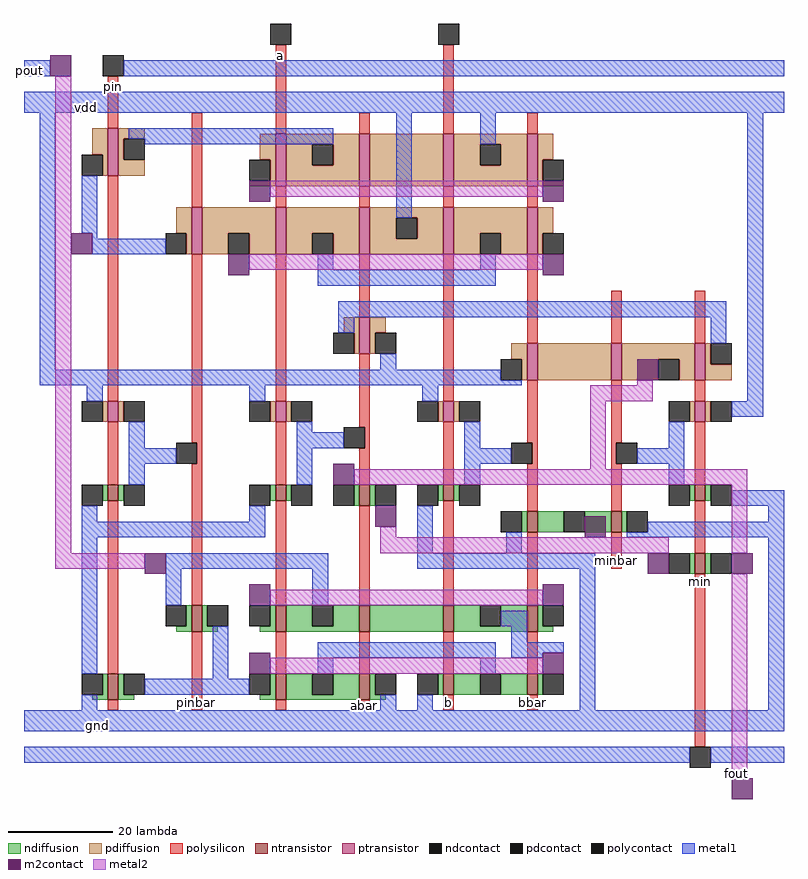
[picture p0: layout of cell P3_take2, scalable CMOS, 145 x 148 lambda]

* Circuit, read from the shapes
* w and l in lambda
.subckt P3_take2 a abar b bbar fout gnd min minbar pin pinbar pout vdd
M1 n1 pin gnd VSUBS nfet w=5 l=2
M2 pinbar pin gnd VSUBS nfet w=3 l=2
M3 n1 pinbar pout VSUBS nfet w=5 l=2
M4 n2 a n1 VSUBS nfet w=5 l=2
M5 pout a n3 VSUBS nfet w=5 l=2
M6 abar a gnd VSUBS nfet w=3 l=2
M7 gnd abar n2 VSUBS nfet w=5 l=2
M8 n4 abar pout VSUBS nfet w=5 l=2
M9 n5 abar fout VSUBS nfet w=4 l=2
M10 n2 b gnd VSUBS nfet w=4 l=2
M11 n1 b n4 VSUBS nfet w=5 l=2
M12 bbar b gnd VSUBS nfet w=3 l=2
M13 n1 bbar n2 VSUBS nfet w=4 l=2
M14 n3 bbar n1 VSUBS nfet w=5 l=2
M15 n5 bbar gnd VSUBS nfet w=4 l=2
M16 gnd minbar n5 VSUBS nfet w=4 l=2
M17 fout min n5 VSUBS nfet w=4 l=2
M18 gnd min minbar VSUBS nfet w=3 l=2
M19 pinbar pin vdd NWELL pfet w=4 l=2
M20 n6 pin pout NWELL pfet w=9 l=2
M21 n7 pinbar pout NWELL pfet w=9 l=2
M22 abar a vdd NWELL pfet w=4 l=2
M23 n8 a n7 NWELL pfet w=9 l=2
M24 n6 a n9 NWELL pfet w=10 l=2
M25 vdd abar n10 NWELL pfet w=7 l=2
M26 vdd abar n8 NWELL pfet w=9 l=2
M27 n11 abar n6 NWELL pfet w=10 l=2
M28 bbar b vdd NWELL pfet w=4 l=2
M29 n8 b vdd NWELL pfet w=9 l=2
M30 vdd b n11 NWELL pfet w=10 l=2
M31 n12 bbar vdd NWELL pfet w=7 l=2
M32 n7 bbar n8 NWELL pfet w=9 l=2
M33 n9 bbar vdd NWELL pfet w=10 l=2
M34 fout minbar n12 NWELL pfet w=7 l=2
M35 vdd min minbar NWELL pfet w=4 l=2
M36 n10 min fout NWELL pfet w=7 l=2
.ends

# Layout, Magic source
magic
tech scmos
<< ntransistor >>
rect 0 47 2 50
rect 32 47 34 50
rect 48 46 50 50
rect 64 47 66 50
rect 112 47 114 50
rect 80 41 82 45
rect 96 41 98 45
rect 112 33 114 37
rect 16 22 18 27
rect 32 22 34 27
rect 48 22 50 27
rect 64 22 66 27
rect 80 22 82 27
rect 0 9 2 14
rect 32 9 34 14
rect 48 9 50 14
rect 64 10 66 14
rect 80 10 82 14
<< ptransistor >>
rect 0 109 2 118
rect 32 107 34 117
rect 48 107 50 117
rect 64 107 66 117
rect 80 107 82 117
rect 16 94 18 103
rect 32 94 34 103
rect 48 94 50 103
rect 64 94 66 103
rect 80 94 82 103
rect 0 62 2 66
rect 48 75 50 82
rect 32 62 34 66
rect 80 70 82 77
rect 96 70 98 77
rect 112 70 114 77
rect 64 62 66 66
rect 112 62 114 66
<< ndiffusion >>
rect -1 47 0 50
rect 2 47 3 50
rect 31 47 32 50
rect 34 47 35 50
rect 47 46 48 50
rect 50 46 51 50
rect 63 47 64 50
rect 66 47 67 50
rect 111 47 112 50
rect 114 47 115 50
rect 79 41 80 45
rect 82 41 87 45
rect 91 41 96 45
rect 98 41 99 45
rect 111 33 112 37
rect 114 33 115 37
rect 15 23 16 27
rect 13 22 16 23
rect 18 23 19 27
rect 31 23 32 27
rect 18 22 21 23
rect 29 22 32 23
rect 34 23 39 27
rect 43 23 48 27
rect 34 22 48 23
rect 50 22 64 27
rect 66 23 71 27
rect 75 23 80 27
rect 66 22 80 23
rect 82 23 83 27
rect 82 22 85 23
rect -1 10 0 14
rect -3 9 0 10
rect 2 10 3 14
rect 2 9 5 10
rect 31 10 32 14
rect 29 9 32 10
rect 34 10 39 14
rect 43 10 48 14
rect 34 9 48 10
rect 50 10 51 14
rect 63 10 64 14
rect 66 10 71 14
rect 75 10 80 14
rect 82 10 83 14
rect 50 9 53 10
<< pdiffusion >>
rect -3 113 0 118
rect -1 109 0 113
rect 2 116 7 118
rect 2 112 3 116
rect 2 109 7 112
rect 29 112 32 117
rect 31 108 32 112
rect 27 107 32 108
rect 34 115 48 117
rect 34 111 39 115
rect 43 111 48 115
rect 34 107 48 111
rect 50 107 64 117
rect 66 115 80 117
rect 66 111 71 115
rect 75 111 80 115
rect 66 107 80 111
rect 82 112 85 117
rect 82 108 83 112
rect 82 107 87 108
rect 13 98 16 103
rect 15 94 16 98
rect 18 98 32 103
rect 18 94 23 98
rect 27 94 32 98
rect 34 98 48 103
rect 34 94 39 98
rect 43 94 48 98
rect 50 101 64 103
rect 50 97 55 101
rect 59 97 64 101
rect 50 94 64 97
rect 66 98 80 103
rect 66 94 71 98
rect 75 94 80 98
rect 82 98 85 103
rect 82 94 83 98
rect -1 62 0 66
rect 2 62 3 66
rect 45 79 48 82
rect 47 75 48 79
rect 50 79 53 82
rect 50 75 51 79
rect 31 62 32 66
rect 34 62 35 66
rect 77 74 80 77
rect 79 70 80 74
rect 82 70 96 77
rect 98 74 112 77
rect 98 70 105 74
rect 109 70 112 74
rect 114 73 115 77
rect 114 70 119 73
rect 63 62 64 66
rect 66 62 67 66
rect 111 62 112 66
rect 114 62 115 66
<< ndcontact >>
rect -5 46 -1 50
rect 3 46 7 50
rect 27 46 31 50
rect 35 46 39 50
rect 43 46 47 50
rect 51 46 55 50
rect 59 46 63 50
rect 67 46 71 50
rect 107 46 111 50
rect 75 41 79 45
rect 87 41 91 45
rect 99 41 103 45
rect 115 46 119 50
rect 107 33 111 37
rect 115 33 119 37
rect 11 23 15 27
rect 19 23 23 27
rect 27 23 31 27
rect 39 23 43 27
rect 71 23 75 27
rect 83 23 87 27
rect -5 10 -1 14
rect 3 10 7 14
rect 27 10 31 14
rect 39 10 43 14
rect 51 10 55 14
rect 59 10 63 14
rect 71 10 75 14
rect 83 10 87 14
<< pdcontact >>
rect -5 109 -1 113
rect 3 112 7 116
rect 27 108 31 112
rect 39 111 43 115
rect 71 111 75 115
rect 83 108 87 112
rect 11 94 15 98
rect 23 94 27 98
rect 39 94 43 98
rect 55 97 59 101
rect 71 94 75 98
rect 83 94 87 98
rect -5 62 -1 66
rect 3 62 7 66
rect 43 75 47 79
rect 51 75 55 79
rect 27 62 31 66
rect 35 62 39 66
rect 75 70 79 74
rect 105 70 109 74
rect 115 73 119 77
rect 59 62 63 66
rect 67 62 71 66
rect 107 62 111 66
rect 115 62 119 66
<< polysilicon >>
rect 0 118 2 128
rect 0 66 2 109
rect 16 103 18 121
rect 32 117 34 134
rect 48 117 50 121
rect 64 117 66 134
rect 80 117 82 121
rect 32 103 34 107
rect 48 103 50 107
rect 64 103 66 107
rect 80 103 82 107
rect 0 50 2 62
rect 16 58 18 94
rect 32 66 34 94
rect 48 82 50 94
rect 17 54 18 58
rect 0 14 2 47
rect 16 27 18 54
rect 32 50 34 62
rect 48 61 50 75
rect 64 66 66 94
rect 80 77 82 94
rect 96 77 98 87
rect 112 77 114 87
rect 49 57 50 61
rect 48 50 50 57
rect 64 50 66 62
rect 80 58 82 70
rect 81 54 82 58
rect 32 27 34 47
rect 48 27 50 46
rect 64 27 66 47
rect 80 45 82 54
rect 96 58 98 70
rect 112 66 114 70
rect 96 54 97 58
rect 96 45 98 54
rect 112 50 114 62
rect 80 27 82 41
rect 96 34 98 41
rect 112 37 114 47
rect 0 7 2 9
rect 16 7 18 22
rect 32 14 34 22
rect 48 14 50 22
rect 64 14 66 22
rect 80 14 82 22
rect 32 7 34 9
rect 48 7 50 9
rect 64 7 66 10
rect 80 7 82 10
rect 112 0 114 33
<< polycontact >>
rect 31 134 35 138
rect 63 134 67 138
rect -1 128 3 132
rect 13 54 17 58
rect 45 57 49 61
rect 77 54 81 58
rect 97 54 101 58
rect 111 -4 115 0
<< metal1 >>
rect -16 128 -11 131
rect 3 128 129 131
rect -16 121 129 125
rect -13 72 -10 121
rect 4 116 43 118
rect 7 115 43 116
rect -5 98 -2 109
rect 55 101 58 121
rect 71 115 74 121
rect -3 97 -2 98
rect -3 94 11 97
rect 40 91 43 94
rect 71 91 74 94
rect 40 88 74 91
rect 44 82 118 85
rect 44 79 47 82
rect 52 72 55 75
rect 115 77 118 82
rect -13 70 75 72
rect -13 69 79 70
rect -4 66 -1 69
rect 27 66 30 69
rect 60 66 63 69
rect 122 66 125 121
rect 4 57 7 62
rect 36 60 39 62
rect 4 54 13 57
rect 36 57 45 60
rect 68 57 71 62
rect 119 63 125 66
rect 4 50 7 54
rect 36 50 39 57
rect 68 54 77 57
rect 107 57 110 62
rect 101 54 110 57
rect 68 50 71 54
rect -5 43 -2 46
rect 27 43 30 46
rect -5 40 30 43
rect 107 50 110 54
rect 119 46 129 49
rect -5 14 -2 40
rect 59 37 62 46
rect 76 37 79 41
rect 126 43 129 46
rect 103 41 129 43
rect 99 40 129 41
rect 11 34 42 37
rect 59 34 93 37
rect 11 27 14 34
rect 39 27 42 34
rect 75 23 80 26
rect 20 13 23 23
rect 77 20 80 23
rect 40 17 74 20
rect 77 18 87 20
rect 77 17 83 18
rect 40 14 43 17
rect 71 14 74 17
rect 7 10 27 13
rect -5 7 -2 10
rect 52 7 55 10
rect 59 7 62 10
rect 90 7 93 34
rect 126 7 129 40
rect -16 3 129 7
rect -16 -3 111 0
rect 115 -3 129 0
<< m2contact >>
rect -11 128 -7 132
rect 27 104 31 108
rect 83 104 87 108
rect -7 94 -3 98
rect 23 90 27 94
rect 83 90 87 94
rect 101 70 105 74
rect 43 50 47 54
rect 51 42 55 46
rect 91 40 95 44
rect 7 33 11 37
rect 27 27 31 31
rect 83 27 87 31
rect 27 14 31 18
rect 83 14 87 18
rect 103 33 107 37
rect 119 33 123 37
rect 119 -10 123 -6
<< metal2 >>
rect -10 37 -7 128
rect 31 105 83 108
rect 27 91 83 94
rect 101 69 104 70
rect 92 66 104 69
rect 92 53 95 66
rect 47 50 122 53
rect 52 40 55 42
rect 52 37 107 40
rect -10 34 7 37
rect 119 37 122 50
rect 31 27 83 30
rect 31 14 83 17
rect 119 -6 122 33
<< labels >>
rlabel polysilicon 64 7 66 10 1 b
rlabel polysilicon 80 7 82 10 1 bbar
rlabel polysilicon 96 34 98 37 1 minbar
rlabel polysilicon 112 30 114 33 1 min
rlabel polysilicon 16 7 18 10 1 pinbar
rlabel metal1 -5 121 -3 123 1 vdd
rlabel metal1 -16 128 -14 130 3 pout
rlabel metal1 -3 3 -1 5 1 gnd
rlabel metal2 119 -6 121 -4 1 fout
rlabel polysilicon 48 7 50 9 1 abar
rlabel polysilicon 32 131 34 133 1 a
rlabel polysilicon 0 125 2 127 1 pin
<< end >>
